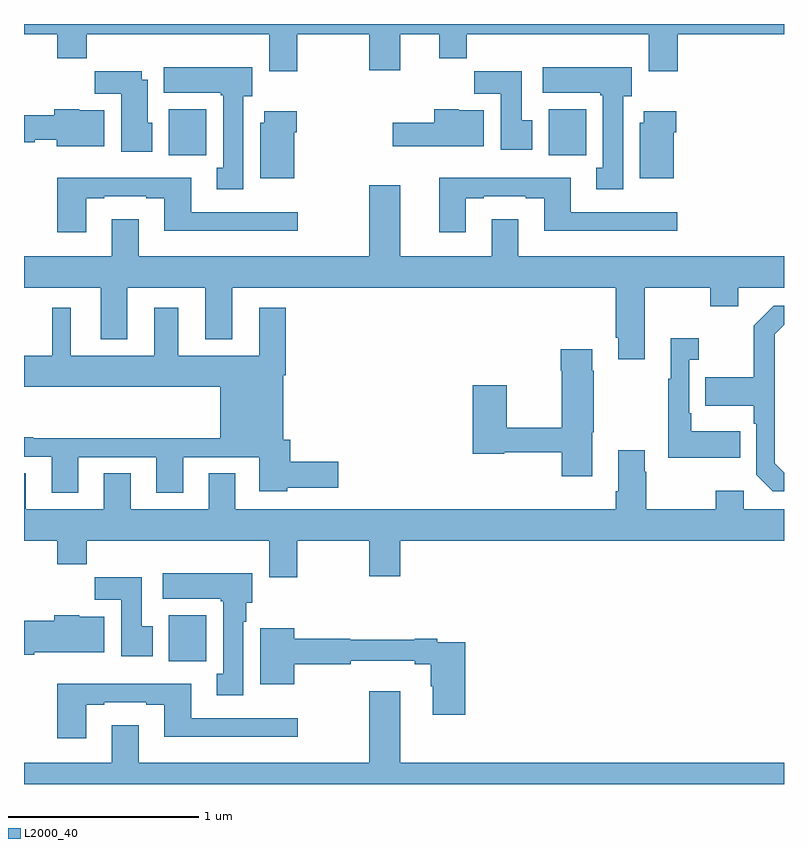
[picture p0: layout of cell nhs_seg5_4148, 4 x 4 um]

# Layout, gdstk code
import gdstk
lib = gdstk.Library(unit=1e-6, precision=1e-09)
def R(c, l, rs):  # rectangles x0, y0, x1, y1
    for r in rs: c.add(gdstk.rectangle(r[:2], r[2:], *l))
def P(c, l, *ps):  # polygons
    for p in ps: c.add(gdstk.Polygon(p, *l))
L2000_40 = (2000, 40)

nhs_seg5_4148 = lib.new_cell('nhs_seg5_4148')
R(nhs_seg5_4148, L2000_40, [(355.763,869.444,355.96,869.686), (355.763,872.108,355.96,872.35), (357.761,872.108,357.958,872.35)])
P(nhs_seg5_4148, L2000_40, [(356.439,872.744),(356.816,872.744),(356.816,872.556),(356.98,872.556),(356.98,872.744),(357.185,872.744),(357.185,872.62),(357.329,872.62),(357.329,872.744),(358.289,872.744),(358.289,872.55),(358.442,872.55),(358.442,872.744),(359,872.744),(359,872.799),(355,872.799),(355,872.744),(355.175,872.744),(355.175,872.62),(355.331,872.62),(355.331,872.744),(356.291,872.744),(356.291,872.55),(356.439,872.55)],
  [(358.153,872.418),(358.198,872.418),(358.198,872.572),(357.729,872.572),(357.729,872.438),(358.033,872.438),(358.033,872.425),(358.046,872.425),(358.046,872.042),(358.013,872.042),(358.013,871.929),(358.153,871.929)],
  [(356.155,872.418),(356.2,872.418),(356.2,872.572),(355.736,872.572),(355.736,872.438),(356.035,872.438),(356.035,872.425),(356.048,872.425),(356.048,872.042),(356.015,872.042),(356.015,871.929),(356.155,871.929)],
  [(357.676,872.292),(357.619,872.292),(357.619,872.551),(357.37,872.551),(357.37,872.432),(357.509,872.432),(357.509,872.136),(357.676,872.136)],
  [(355.675,872.28),(355.651,872.28),(355.651,872.506),(355.621,872.506),(355.621,872.551),(355.372,872.551),(355.372,872.432),(355.511,872.432),(355.511,872.126),(355.675,872.126)],
  [(357.421,872.344),(357.288,872.344),(357.288,872.35),(357.158,872.35),(357.158,872.278),(356.94,872.278),(356.94,872.156),(357.421,872.156)],
  [(355.423,872.344),(355.29,872.344),(355.29,872.35),(355.16,872.35),(355.16,872.319),(355,872.319),(355,872.177),(355.056,872.177),(355.056,872.189),(355.172,872.189),(355.172,872.156),(355.423,872.156)],
  [(356.422,872.228),(356.435,872.228),(356.435,872.341),(356.264,872.341),(356.264,872.28),(356.243,872.28),(356.243,871.988),(356.422,871.988)],
  [(358.42,872.228),(358.433,872.228),(358.433,872.341),(358.262,872.341),(358.262,872.28),(358.241,872.28),(358.241,871.988),(358.42,871.988)],
  [(357.325,871.881),(357.421,871.881),(357.421,871.893),(357.641,871.893),(357.641,871.881),(357.737,871.881),(357.737,871.712),(358.438,871.712),(358.438,871.809),(357.877,871.809),(357.877,871.99),(357.185,871.99),(357.185,871.704),(357.325,871.704)],
  [(355.327,871.881),(355.423,871.881),(355.423,871.893),(355.643,871.893),(355.643,871.881),(355.739,871.881),(355.739,871.712),(356.44,871.712),(356.44,871.809),(355.879,871.809),(355.879,871.99),(355.175,871.99),(355.175,871.704),(355.327,871.704)],
  [(357.601,871.771),(357.461,871.771),(357.461,871.576),(356.98,871.576),(356.98,871.951),(356.816,871.951),(356.816,871.576),(355.603,871.576),(355.603,871.771),(355.463,871.771),(355.463,871.576),(355,871.576),(355,871.412),(355.403,871.412),(355.403,871.139),(355.543,871.139),(355.543,871.412),(355.955,871.412),(355.955,871.139),(356.095,871.139),(356.095,871.412),(358.115,871.412),(358.115,871.147),(358.127,871.147),(358.127,871.035),(358.267,871.035),(358.267,871.412),(358.612,871.412),(358.612,871.313),(358.759,871.313),(358.759,871.412),(359,871.412),(359,871.576),(357.601,871.576)],
  [(359,870.436),(358.95,870.486),(358.95,871.167),(359,871.217),(359,871.317),(358.947,871.317),(358.842,871.211),(358.842,870.939),(358.585,870.939),(358.585,870.791),(358.842,870.791),(358.842,870.695),(358.854,870.695),(358.854,870.426),(358.941,870.339),(359,870.339)],
  [(355.285,870.519),(355.697,870.519),(355.697,870.333),(355.837,870.333),(355.837,870.519),(356.237,870.519),(356.237,870.341),(356.385,870.341),(356.385,870.359),(356.653,870.359),(356.653,870.494),(356.402,870.494),(356.402,870.612),(356.365,870.612),(356.365,870.95),(356.378,870.95),(356.378,871.306),(356.237,871.306),(356.237,871.054),(355.813,871.054),(355.813,871.306),(355.685,871.306),(355.685,871.054),(355.246,871.054),(355.246,871.306),(355.148,871.306),(355.148,871.054),(355,871.054),(355,870.89),(356.033,870.89),(356.033,870.62),(355.049,870.62),(355.049,870.623),(355,870.623),(355,870.522),(355.145,870.522),(355.145,870.333),(355.285,870.333)],
  [(358.769,870.655),(358.513,870.655),(358.513,870.751),(358.5,870.751),(358.5,871.031),(358.552,871.031),(358.552,871.144),(358.403,871.144),(358.403,870.931),(358.392,870.931),(358.392,870.515),(358.769,870.515)],
  [(357.991,870.651),(357.999,870.651),(357.999,870.974),(357.991,870.974),(357.991,871.087),(357.824,871.087),(357.824,870.974),(357.829,870.974),(357.829,870.674),(357.54,870.674),(357.54,870.898),(357.362,870.898),(357.362,870.538),(357.528,870.538),(357.528,870.546),(357.829,870.546),(357.829,870.42),(357.991,870.42)],
  [(356.439,870.08),(356.816,870.08),(356.816,869.892),(356.98,869.892),(356.98,870.08),(359,870.08),(359,870.244),(358.788,870.244),(358.788,870.343),(358.642,870.343),(358.642,870.244),(358.275,870.244),(358.275,870.443),(358.267,870.443),(358.267,870.556),(358.127,870.556),(358.127,870.34),(358.115,870.34),(358.115,870.244),(356.113,870.244),(356.113,870.434),(355.973,870.434),(355.973,870.244),(355.561,870.244),(355.561,870.434),(355.421,870.434),(355.421,870.244),(355.009,870.244),(355.009,870.434),(355,870.434),(355,870.08),(355.175,870.08),(355.175,869.956),(355.331,869.956),(355.331,870.08),(356.291,870.08),(356.291,869.886),(356.439,869.886)],
  [(356.155,869.654),(356.17,869.654),(356.17,869.754),(356.2,869.754),(356.2,869.908),(355.731,869.908),(355.731,869.774),(356.035,869.774),(356.035,869.761),(356.048,869.761),(356.048,869.378),(356.015,869.378),(356.015,869.265),(356.155,869.265)],
  [(355.678,869.628),(355.621,869.628),(355.621,869.887),(355.372,869.887),(355.372,869.768),(355.511,869.768),(355.511,869.472),(355.678,869.472)],
  [(355.054,869.492),(355.423,869.492),(355.423,869.68),(355.29,869.68),(355.29,869.686),(355.16,869.686),(355.16,869.658),(355,869.658),(355,869.48),(355.054,869.48)],
  [(357.323,869.544),(357.176,869.544),(357.176,869.564),(357.056,869.564),(357.056,869.557),(356.718,869.557),(356.718,869.564),(356.422,869.564),(356.422,869.62),(356.243,869.62),(356.243,869.324),(356.422,869.324),(356.422,869.428),(356.72,869.428),(356.72,869.447),(357.056,869.447),(357.056,869.428),(357.14,869.428),(357.14,869.313),(357.152,869.313),(357.152,869.163),(357.323,869.163)],
  [(355.327,869.217),(355.423,869.217),(355.423,869.229),(355.643,869.229),(355.643,869.217),(355.739,869.217),(355.739,869.048),(356.44,869.048),(356.44,869.145),(355.879,869.145),(355.879,869.326),(355.175,869.326),(355.175,869.04),(355.327,869.04)],
  [(359,868.912),(356.98,868.912),(356.98,869.287),(356.816,869.287),(356.816,868.912),(355.603,868.912),(355.603,869.107),(355.463,869.107),(355.463,868.912),(355,868.912),(355,868.799),(359,868.799)])

lib.write_gds('nhs_seg5_4148.gds')
